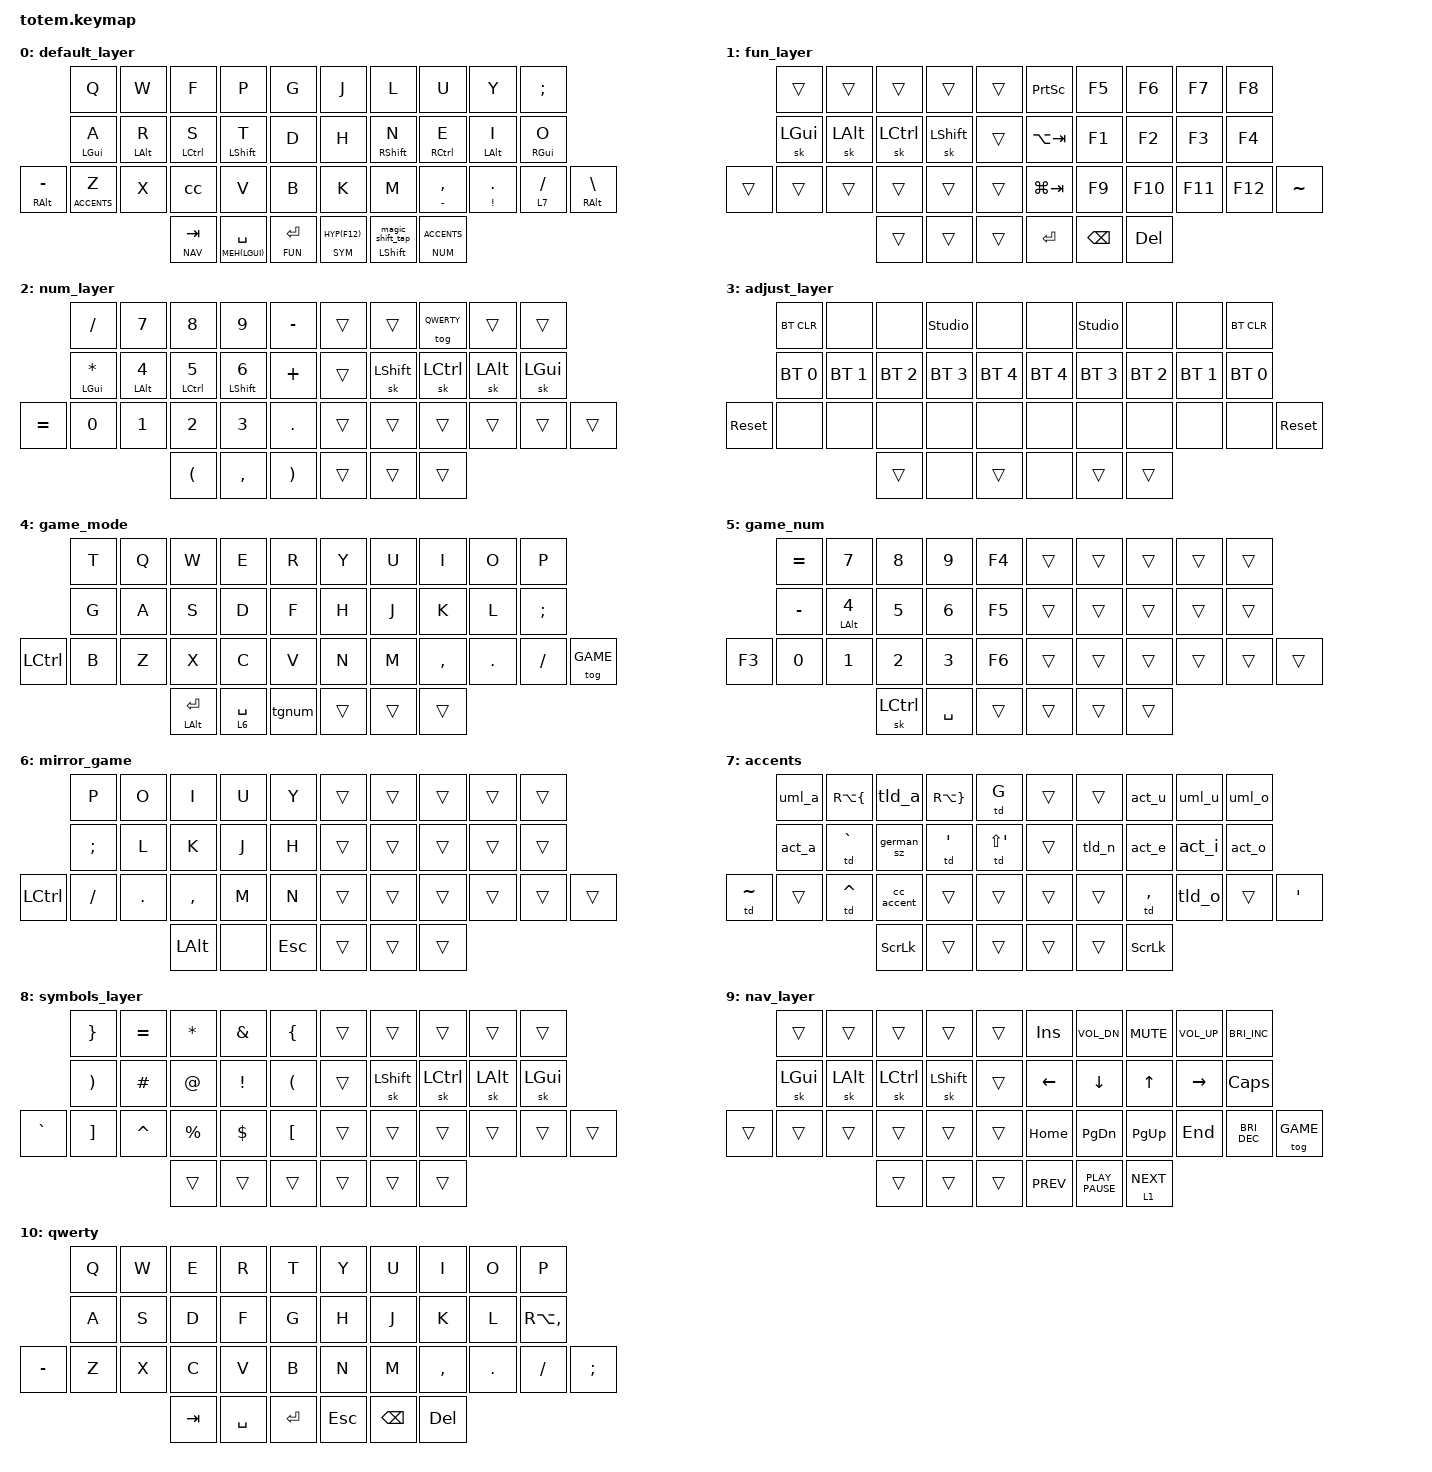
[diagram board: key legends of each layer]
#include <behaviors.dtsi>
#include <dt-bindings/zmk/bt.h>
#include <dt-bindings/zmk/keys.h>
#include <dt-bindings/zmk/pointing.h>
#include <dt-bindings/zmk/outputs.h>

#define DEF 0
#define FUN 1
#define NUM 2
#define ADJ 3
#define GAME 4
#define GAME_NUM 5
#define MIRROR_GAME 6
#define ACCENTS 7
#define SYM 8
#define NAV 9
#define QWERTY 10

#define QUICK_TAP_MS 175

// Macro timing (ZMK defaults: wait 15, tap 30). Lower is faster, but too low
// can make the OS drop the compose sequence.
#define MACRO_WAIT_MS 5
#define MACRO_TAP_MS 5

// Totem key positions, used by the timeless homerow mods
#define KEYS_L 0 1 2 3 4 10 11 12 13 14 20 21 22 23 24 25  // left hand
#define KEYS_R 5 6 7 8 9 15 16 17 18 19 26 27 28 29 30 31  // right hand
#define THUMBS 32 33 34 35 36 37                           // thumb keys

#define MAGIC_SHIFT &magic_shift LSHFT 0
#define MEH(keycode) LC(LS(LA(keycode)))
#define HYP(keycode) LC(LS(LA(LG(keycode))))


&lt {
  tapping-term-ms = <200>;
  quick-tap-ms = <130>;
  require-prior-idle-ms = <150>;
  flavor = "balanced";
  retro-tap;
};

&mt {
  tapping-term-ms = <180>;
  quick-tap-ms = <130>;
  require-prior-idle-ms = <120>;
  flavor = "balanced";
};

&sk { quick-release; };

// Sticky layers (ACCENTS) survive modifier presses, so MAGIC_SHIFT can be
// held after the layer is armed (ACCENTS -> MAGIC_SHIFT -> letter = accented
// uppercase). Without this, the LSHFT hold press releases the layer first.
&sl { ignore-modifiers; };

/ {
  conditional_layers {
    compatible = "zmk,conditional-layers";

    tri-layer {
      if-layers = <1 2>;
      then-layer = <3>;
    };
  };

  combos {
    compatible = "zmk,combos";

    bksp {
      timeout-ms = <30>;
      require-prior-idle-ms = <80>;
      bindings = <&kp2 LC(BSPC) BSPC>;
      key-positions = <6 7>;
    };

    del {
      timeout-ms = <30>;
      require-prior-idle-ms = <80>;
      bindings = <&kp2 LC(DELETE) DELETE>;
      key-positions = <7 8>;
    };

    escape {
      timeout-ms = <40>;
      require-prior-idle-ms = <80>;
      bindings = <&kp ESC>;
      key-positions = <16 17>;
    };

    leader {
      timeout-ms = <40>;
      require-prior-idle-ms = <80>;
      bindings = <&kp LC(LS(LA(LG(F12))))>;
      key-positions = <17 18>;
    };

    cut {
      bindings = <&kp LC(X)>;
      key-positions = <21 22>;
    };

    copy {
      bindings = <&kp LC(C)>;
      key-positions = <22 23>;
    };

    paste {
      bindings = <&kp LC(V)>;
      key-positions = <23 24>;
    };

    ctrl_shift_t {
      bindings = <&kp LC(LS(T))>;
      key-positions = <2 3>;
    };

    plus_minus_combo {
      timeout-ms = <30>;
      key-positions = <10 20>;
      bindings = <&plus_minus>;
    };

    sqt {
      timeout-ms = <30>;
      key-positions = <6 16>;
      bindings = <&kp SQT>;
    };

    dqt {
      timeout-ms = <30>;
      key-positions = <7 17>;
      bindings = <&kp DQT>;
    };

    open_bracket {
      key-positions = <8 9>;
      bindings = <&kp LBKT>;
    };

    close_bracket {
      key-positions = <0 1>;
      bindings = <&kp RBKT>;
    };

  };
    
  macros {
    plus_minus: plus_minus {
	compatible = "zmk,behavior-macro";
	wait-ms = <MACRO_WAIT_MS>;
	tap-ms = <MACRO_TAP_MS>;
	#binding-cells = <0>;
	bindings = <&kp SCROLLLOCK &kp PLUS &kp MINUS>;
	};

    live_keys: live_keys {
	compatible = "zmk,behavior-macro-one-param";
	wait-ms = <MACRO_WAIT_MS>;
	tap-ms = <MACRO_TAP_MS>;
	#binding-cells = <1>;
	bindings = <&macro_param_1to1 &kp MACRO_PLACEHOLDER &kp SPACE>;
	};

    german_sz: german_sz {
	compatible = "zmk,behavior-macro";
	wait-ms = <MACRO_WAIT_MS>;
	tap-ms = <MACRO_TAP_MS>;
	#binding-cells = <0>;
	bindings = <&kp SCROLLLOCK &kp S &kp S>;
	};

    meh: meh {
	compatible = "zmk,behavior-macro-one-param";
	wait-ms = <MACRO_WAIT_MS>;
	tap-ms = <MACRO_TAP_MS>;
	#binding-cells = <1>;
	bindings = <&macro_param_1to1 &kp LC(LS(LA(MACRO_PLACEHOLDER)))>;
	};

    td: turn_dead {
	compatible = "zmk,behavior-macro-one-param";
	wait-ms = <MACRO_WAIT_MS>;
	tap-ms = <MACRO_TAP_MS>;
	#binding-cells = <1>;
	bindings = <&kp SCROLLLOCK &macro_param_1to1 &kp MACRO_PLACEHOLDER>;
	};

    td2: turn_dead_two {
	compatible = "zmk,behavior-macro-two-param";
	wait-ms = <MACRO_WAIT_MS>;
	tap-ms = <MACRO_TAP_MS>;
	#binding-cells = <2>;
	bindings = <&kp SCROLLLOCK>,
	    <&macro_param_1to1>, <&kp MACRO_PLACEHOLDER>,
	    <&macro_param_2to1>, <&kp MACRO_PLACEHOLDER>;
	};

    cedilla_lower: cedilla_lower {
	compatible = "zmk,behavior-macro-one-param";
	wait-ms = <MACRO_WAIT_MS>;
	tap-ms = <MACRO_TAP_MS>;
	#binding-cells = <1>;
	bindings = <&kp SCROLLLOCK &kp COMMA &kp C>;
	};


    cedilla_upper: cedilla_upper {
	compatible = "zmk,behavior-macro-one-param";
	wait-ms = <MACRO_WAIT_MS>;
	tap-ms = <MACRO_TAP_MS>;
	#binding-cells = <1>;
	bindings = <&kp SCROLLLOCK &kp COMMA &kp LS(C)>;
	};


  };

behaviors {
  // Timeless homerow mods (urob): the hold is decided by positional
  // "chordal" rules, not by a short timeout. Holds only trigger with the
  // opposite hand (or thumbs), and on release of the other key.
  hml: homerow_mods_left {
      compatible = "zmk,behavior-hold-tap";
      #binding-cells = <2>;
      flavor = "balanced";
      tapping-term-ms = <280>;
      quick-tap-ms = <QUICK_TAP_MS>;
      require-prior-idle-ms = <150>;
      bindings = <&kp>, <&kp>;
      hold-trigger-key-positions = <KEYS_R THUMBS>;
      hold-trigger-on-release;
    };

  hmr: homerow_mods_right {
      compatible = "zmk,behavior-hold-tap";
      #binding-cells = <2>;
      flavor = "balanced";
      tapping-term-ms = <280>;
      quick-tap-ms = <QUICK_TAP_MS>;
      require-prior-idle-ms = <150>;
      bindings = <&kp>, <&kp>;
      hold-trigger-key-positions = <KEYS_L THUMBS>;
      hold-trigger-on-release;
    };

  magic_shift: magic_shift {
      compatible = "zmk,behavior-hold-tap";
      #binding-cells = <2>;
      flavor = "balanced";
      tapping-term-ms = <200>;
      quick-tap-ms = <QUICK_TAP_MS>;
      bindings = <&kp>, <&magic_shift_tap>;
    };

  magic_shift_tap: magic_shift_tap {
      compatible = "zmk,behavior-mod-morph";
      #binding-cells = <0>;
      bindings = <&sk LSHFT>, <&capsword>;
      mods = <(MOD_LSFT)>;
    };

  capsword: capsword {
      compatible = "zmk,behavior-caps-word";
      #binding-cells = <0>;
      continue-list = <SEMICOLON MINUS UNDERSCORE BACKSPACE A B C D E F G H I J K L M N O P Q R S T U V W X Y Z>;
    };

  altgr_accent: altgr_accent {
      compatible = "zmk,behavior-hold-tap";
      bindings = <&mo>, <&kp>;
      #binding-cells = <2>;
      tapping-term-ms = <150>;
      quick-tap-ms = <200>;
    };

  tgnum: toggle_or_quit_game_num {
      compatible = "zmk,behavior-tap-dance";
      #binding-cells = <0>;
      bindings = <&sl 5>, <&tog 5>;
    };

  kp2: key_two_presses {
      compatible = "zmk,behavior-hold-tap";
      #binding-cells = <2>;
      flavor = "tap-preferred";
      tapping-term-ms = <200>;
      bindings = <&kp>, <&kp>;
    };


  act_a: acute_a {
      compatible = "zmk,behavior-mod-morph";
      #binding-cells = <0>;
      bindings = <&td2 SQT A>, <&td2 SQT LS(A)>;
      mods = <(MOD_LSFT|MOD_RSFT)>;
   };

  act_e: acute_e {
      compatible = "zmk,behavior-mod-morph";
      #binding-cells = <0>;
      bindings = <&td2 SQT E>, <&td2 SQT LS(E)>;
      mods = <(MOD_LSFT|MOD_RSFT)>;
   };

  act_i: acute_i {
      compatible = "zmk,behavior-mod-morph";
      #binding-cells = <0>;
      bindings = <&td2 SQT I>, <&td2 SQT LS(I)>;
      mods = <(MOD_LSFT|MOD_RSFT)>;
   };

  act_o: acute_o {
      compatible = "zmk,behavior-mod-morph";
      #binding-cells = <0>;
      bindings = <&td2 SQT O>, <&td2 SQT LS(O)>;
      mods = <(MOD_LSFT|MOD_RSFT)>;
   };

  act_u: acute_u {
      compatible = "zmk,behavior-mod-morph";
      #binding-cells = <0>;
      bindings = <&td2 SQT U>, <&td2 SQT LS(U)>;
      mods = <(MOD_LSFT|MOD_RSFT)>;
   };

  grv_a: grave_a {
      compatible = "zmk,behavior-mod-morph";
      #binding-cells = <0>;
      bindings = <&td2 GRAVE A>, <&td2 GRAVE LS(A)>;
      mods = <(MOD_LSFT|MOD_RSFT)>;
   };

  grv_e: grave_e {
      compatible = "zmk,behavior-mod-morph";
      #binding-cells = <0>;
      bindings = <&td2 GRAVE E>, <&td2 GRAVE LS(E)>;
      mods = <(MOD_LSFT|MOD_RSFT)>;
   };

  grv_i: grave_i {
      compatible = "zmk,behavior-mod-morph";
      #binding-cells = <0>;
      bindings = <&td2 GRAVE I>, <&td2 GRAVE LS(I)>;
      mods = <(MOD_LSFT|MOD_RSFT)>;
   };

  grv_o: grave_o {
      compatible = "zmk,behavior-mod-morph";
      #binding-cells = <0>;
      bindings = <&td2 GRAVE O>, <&td2 GRAVE LS(O)>;
      mods = <(MOD_LSFT|MOD_RSFT)>;
   };

  grv_u: grave_u {
      compatible = "zmk,behavior-mod-morph";
      #binding-cells = <0>;
      bindings = <&td2 GRAVE U>, <&td2 GRAVE LS(U)>;
      mods = <(MOD_LSFT|MOD_RSFT)>;
   };


  tld_a: tilde_a {
      compatible = "zmk,behavior-mod-morph";
      #binding-cells = <0>;
      bindings = <&td2 TILDE A>, <&td2 TILDE LS(A)>;
      mods = <(MOD_LSFT|MOD_RSFT)>;
   };


  tld_e: tilde_e {
      compatible = "zmk,behavior-mod-morph";
      #binding-cells = <0>;
      bindings = <&td2 TILDE E>, <&td2 TILDE LS(E)>;
      mods = <(MOD_LSFT|MOD_RSFT)>;
   };


  tld_i: tilde_i {
      compatible = "zmk,behavior-mod-morph";
      #binding-cells = <0>;
      bindings = <&td2 TILDE I>, <&td2 TILDE LS(I)>;
      mods = <(MOD_LSFT|MOD_RSFT)>;
   };


  tld_o: tilde_o {
      compatible = "zmk,behavior-mod-morph";
      #binding-cells = <0>;
      bindings = <&td2 TILDE O>, <&td2 TILDE LS(O)>;
      mods = <(MOD_LSFT|MOD_RSFT)>;
   };


  tld_u: tilde_u {
      compatible = "zmk,behavior-mod-morph";
      #binding-cells = <0>;
      bindings = <&td2 TILDE U>, <&td2 TILDE LS(U)>;
      mods = <(MOD_LSFT|MOD_RSFT)>;
   };

  tld_n: tilde_n {
      compatible = "zmk,behavior-mod-morph";
      #binding-cells = <0>;
      bindings = <&td2 TILDE N>, <&td2 TILDE LS(N)>;
      mods = <(MOD_LSFT|MOD_RSFT)>;
   };



  uml_a: umlaut_a {
      compatible = "zmk,behavior-mod-morph";
      #binding-cells = <0>;
      bindings = <&td2 DQT A>, <&td2 DQT LS(A)>;
      mods = <(MOD_LSFT|MOD_RSFT)>;
   };


  uml_e: umlaut_e {
      compatible = "zmk,behavior-mod-morph";
      #binding-cells = <0>;
      bindings = <&td2 DQT E>, <&td2 DQT LS(E)>;
      mods = <(MOD_LSFT|MOD_RSFT)>;
   };


  uml_i: umlaut_i {
      compatible = "zmk,behavior-mod-morph";
      #binding-cells = <0>;
      bindings = <&td2 DQT I>, <&td2 DQT LS(I)>;
      mods = <(MOD_LSFT|MOD_RSFT)>;
   };


  uml_o: umlaut_o {
      compatible = "zmk,behavior-mod-morph";
      #binding-cells = <0>;
      bindings = <&td2 DQT O>, <&td2 DQT LS(O)>;
      mods = <(MOD_LSFT|MOD_RSFT)>;
   };


  uml_u: umlaut_u {
      compatible = "zmk,behavior-mod-morph";
      #binding-cells = <0>;
      bindings = <&td2 DQT U>, <&td2 DQT LS(U)>;
      mods = <(MOD_LSFT|MOD_RSFT)>;
   };


 ht_lower: hold_tap_lower {
    compatible = "zmk,behavior-hold-tap";
    #binding-cells = <2>;
    flavor = "tap-preferred";
    tapping-term-ms = <160>;
    quick-tap-ms = <150>;
    bindings = <&cedilla_lower>, <&kp>;
  };

 ht_upper: hold_tap_upper {
    compatible = "zmk,behavior-hold-tap";
    #binding-cells = <2>;
    flavor = "tap-preferred";
    tapping-term-ms = <160>;
    quick-tap-ms = <150>;
    bindings = <&cedilla_upper>, <&kp>;
  };

 cc: c_cedilla_morph {
    compatible = "zmk,behavior-mod-morph";
    #binding-cells = <0>;
    bindings = <&ht_lower 0 C>, <&ht_upper 0 LS(C)>;
    mods = <(MOD_LSFT|MOD_RSFT)>;
  };

 cc_accent: c_cedilla_accent {
    compatible = "zmk,behavior-mod-morph";
    #binding-cells = <0>;
    bindings = <&cedilla_lower 0>, <&cedilla_upper 0>;
    mods = <(MOD_LSFT|MOD_RSFT)>;
  };

 snm: sticky_and_momentary {
    compatible = "zmk,behavior-hold-tap";
    #binding-cells = <2>;
    flavor = "tap-preferred";
    tapping-term-ms = <200>;
    quick-tap-ms = <100>;
    bindings = <&mo>, <&sl>;
  };
 };

  keymap {
    compatible = "zmk,keymap";

    default_layer {
      bindings = <
			 &kp Q           &kp W                &kp F            &kp P                &kp G            &kp J            &kp L               &kp U              &kp Y           &kp SEMICOLON
			 &hml LEFT_GUI A &hml LEFT_ALT R      &hml LCTRL S     &hml LEFT_SHIFT T    &kp D            &kp H            &hmr RIGHT_SHIFT N  &hmr RCTRL E       &hmr LEFT_ALT I &hmr RIGHT_GUI O
    &mt RIGHT_ALT MINUS  &lt ACCENTS Z   &kp X                &cc  	       &kp V                &kp B            &kp K            &kp M               &kp2 MINUS COMMA   &kp2 EXCL DOT   &altgr_accent 7 FSLH  &mt RIGHT_ALT BSLH
    		  	     	       			      &lt NAV TAB      &mt MEH(LGUI) SPACE  &lt FUN ENTER    &lt SYM HYP(F12) MAGIC_SHIFT	  &snm NUM ACCENTS
	>;
    };

    fun_layer {
      bindings = <
	&trans       &trans	    &trans	     &trans	     &trans	 &kp PRINTSCREEN &kp F5 	&kp F6  	&kp F7   &kp F8
	&sk LEFT_GUI &sk LEFT_ALT   &sk LEFT_CONTROL &sk LEFT_SHIFT  &trans 	 &kp LA(TAB)	 &kp F1		&kp F2		&kp F3   &kp F4
&trans	&trans       &trans  	    &trans     	     &trans  	     &trans 	 &kp LG(TAB)	 &kp F9 	&kp F10 	&kp F11  &kp F12  &kp TILDE
				    &trans  	     &trans  	     &trans 	 &kp ENTER	 &kp BACKSPACE  &kp DELETE    	
	>;
    };

    num_layer {
      bindings = <
      	       	&kp FSLH		&kp N7          &kp N8		&kp N9			&kp MINUS	&trans	&trans		&tog QWERTY		&trans		&trans	      
		&mt LEFT_GUI STAR	&mt LEFT_ALT N4 &mt LCTRL N5	&mt LEFT_SHIFT N6	&kp PLUS	&trans 	&sk LEFT_SHIFT	&sk LEFT_CONTROL	&sk LEFT_ALT	&sk LEFT_GUI  
&kp EQUAL	&kp N0                  &kp N1          &kp N2		&kp N3          	&kp DOT 	&trans	&trans		&trans          	&trans  	&trans	        &trans
    		    		    			&kp LPAR	&kp COMMA   		&kp RPAR	&trans			&trans			&trans
	>;
    };

    adjust_layer {
      bindings = <
	&bt BT_CLR    &none         &none         &studio_unlock  &none         &none         &studio_unlock  &none         &none         &bt BT_CLR
	&bt BT_SEL 0  &bt BT_SEL 1  &bt BT_SEL 2  &bt BT_SEL 3    &bt BT_SEL 4  &bt BT_SEL 4  &bt BT_SEL 3    &bt BT_SEL 2  &bt BT_SEL 1  &bt BT_SEL 0
	&sys_reset  &none         &none         &none         &none           &none         &none         &none           &none         &none         &none         &sys_reset
	&trans        &none           &trans        &none         &trans          &trans
	>; 
    };

    game_mode {
      bindings = <
	&kp T  &kp Q  &kp W		 &kp E           &kp R        &kp Y   &kp U   &kp I      &kp O    &kp P
	&kp G  &kp A  &kp S    	 &kp D           &kp F        &kp H   &kp J   &kp K      &kp L    &kp SEMI
	&kp LCTRL  &kp B  &kp Z  &kp X   	 &kp C           &kp V        &kp N   &kp M   &kp COMMA  &kp DOT  &kp FSLH  &tog GAME 
	&mt LALT ENTER  &lt 6 SPACE  	 &tgnum	      &trans  &trans  &trans
	>;
    };

    game_num {
      bindings = <
	&kp EQUAL     &kp N7                 &kp N8     &kp N9     &kp F4  &trans  &trans  &trans  &trans  &trans
	&kp MINUS     &mt LEFT_ALT NUMBER_4  &kp N5     &kp N6     &kp F5  &trans  &trans  &trans  &trans  &trans
	&kp F3  	&kp NUMBER_0  &kp N1                 &kp N2     &kp N3     &kp F6  &trans  &trans  &trans  &trans  &trans  &trans
	&sk LCTRL  &kp SPACE  &trans  &trans  &trans  &trans
	>;
    };

    mirror_game {
      bindings = <
	&kp P     &kp O    &kp I      &kp U    &kp Y    &trans  &trans  &trans  &trans  &trans
	&kp SEMI  &kp L    &kp K      &kp J    &kp H    &trans  &trans  &trans  &trans  &trans
	&kp LEFT_CONTROL  &kp FSLH  &kp DOT  &kp COMMA  &kp M    &kp N    &trans  &trans  &trans  &trans  &trans  &trans
	&kp LALT &none  	&kp ESC  &trans	  &trans  &trans
	>;
    };

    accents {
      bindings = <
	    &uml_a     &kp RA(LBRC) &tld_a		&kp RA(RBRC) &td G        &trans    &trans          &act_u          &uml_u    &uml_o
	    &act_a     &td GRAVE      &german_sz	&td SQT        &td LS(SQT)  &trans    &tld_n          &act_e          &act_i    &act_o
&td TILDE   &trans     &td CARET      &cc_accent	&trans         &trans       &trans    &trans	      &td COMMA       &tld_o    &trans    &kp SQT
				      &kp SCROLLLOCK	&trans         &trans       &trans    &trans          &kp SCROLLLOCK
	>;
    };

    symbols_layer {
      bindings = <
	          &kp RBRC   &kp EQUAL        &kp STAR    &kp AMPS    &kp LBRC    &trans         &trans         &trans            &trans         &trans
	          &kp RPAR   &kp HASH         &kp AT      &kp EXCL    &kp LPAR    &trans         &sk LEFT_SHIFT &sk LEFT_CONTROL  &sk LEFT_ALT   &sk LEFT_GUI
&kp GRAVE  &kp RBKT   &kp CARET &kp PRCNT   &kp DLLR    &kp LBKT    &trans         &trans         &trans            &trans         &trans           &trans
&trans     	  &trans     &trans    	      &trans      &trans            &trans
	>;
    };

    nav_layer {
      bindings = <
	    &trans		 &trans		  &trans           &trans           &trans           &kp INSERT       &kp C_VOL_DN      &kp K_MUTE   &kp C_VOLUME_UP  &kp C_BRIGHTNESS_INC
	    &sk LEFT_GUI	 &sk LEFT_ALT 	  &sk LEFT_CONTROL &sk LEFT_SHIFT   &trans           &kp LEFT         &kp DOWN          &kp UP       &kp RIGHT        &kp CAPSLOCK
&trans      &trans      	 &trans       	  &trans           &trans           &trans           &kp HOME         &kp PAGE_DOWN     &kp PAGE_UP  &kp END          &kp C_BRIGHTNESS_DEC      &tog GAME 
	&trans	   &trans	   &trans 	  &kp K_PREV       &kp K_PLAY_PAUSE &lt 1 K_NEXT     
	>;
    };

    qwerty {
	bindings = <
	    &kp Q &kp W &kp E   &kp R     &kp T     &kp Y      &kp U         &kp I           &kp O     &kp P
	    &kp A &kp S &kp D   &kp F     &kp G     &kp H      &kp J         &kp K           &kp L     &kp RA(COMMA)
&kp MINUS   &kp Z &kp X &kp C   &kp V     &kp B     &kp N      &kp M         &kp COMMA 	     &kp DOT   &kp FSLH      &kp SEMICOLON 
	    	 	&kp TAB &kp SPACE &kp ENTER &kp ESCAPE &kp BACKSPACE &kp DELETE
			>;
		};  
  };
};
